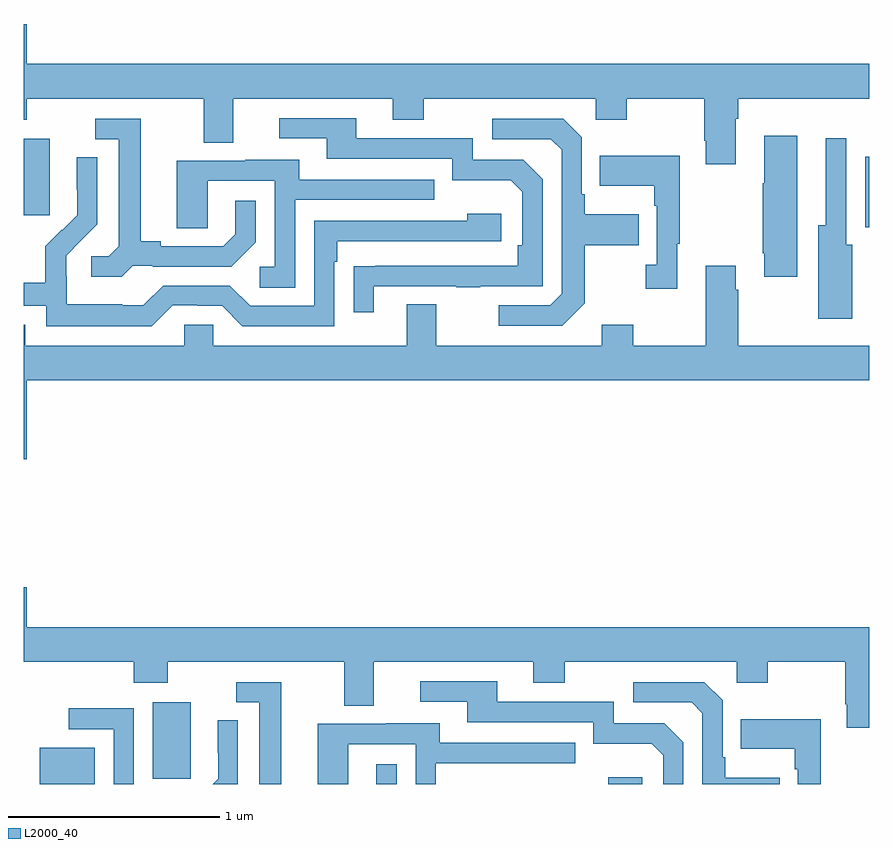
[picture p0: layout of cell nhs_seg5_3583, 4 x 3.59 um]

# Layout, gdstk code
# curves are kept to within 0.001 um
import gdstk
lib = gdstk.Library(unit=1e-6, precision=1e-09)
def R(c, l, rs):  # rectangles x0, y0, x1, y1
    for r in rs: c.add(gdstk.rectangle(r[:2], r[2:], *l))
def P(c, l, *ps):  # polygons
    for p in ps: c.add(gdstk.Polygon(p, *l))
L2000_40 = (2000, 40)

nhs_seg5_3583 = lib.new_cell('nhs_seg5_3583')
R(nhs_seg5_3583, L2000_40, [(321.077,906.799,321.337,906.97), (322.667,906.799,322.764,906.892), (323.765,906.799,323.926,906.832), (321.611,906.825,321.79,907.186), (324.981,909.432,325,909.766), (321,909.489,321.124,909.85)])
P(nhs_seg5_3583, L2000_40, [(324.367,909.944),(324.38,909.944),(324.38,910.04),(325,910.04),(325,910.204),(321.016,910.204),(321.016,910.393),(321,910.393),(321,909.941),(321.015,909.941),(321.015,910.04),(321.851,910.04),(321.851,909.832),(321.991,909.832),(321.991,910.04),(322.745,910.04),(322.745,909.941),(322.893,909.941),(322.893,910.04),(323.706,910.04),(323.706,909.941),(323.853,909.941),(323.853,910.04),(324.22,910.04),(324.22,909.841),(324.227,909.841),(324.227,909.729),(324.367,909.729)],
  [(322.657,909.153),(323.047,909.153),(323.047,909.148),(323.159,909.148),(323.159,909.153),(323.454,909.153),(323.454,909.66),(323.364,909.75),(323.124,909.75),(323.124,909.852),(322.573,909.852),(322.573,909.948),(322.209,909.948),(322.209,909.852),(322.433,909.852),(322.433,909.756),(323.028,909.756),(323.028,909.653),(323.305,909.653),(323.358,909.6),(323.358,909.346),(323.338,909.346),(323.338,909.249),(322.561,909.248),(322.561,909.03),(322.657,909.03)],
  [(321.516,909.249),(321.61,909.249),(321.61,909.246),(321.982,909.246),(322.098,909.362),(322.098,909.556),(322.001,909.556),(322.001,909.399),(321.944,909.342),(321.649,909.342),(321.649,909.365),(321.553,909.365),(321.553,909.945),(321.339,909.945),(321.339,909.849),(321.449,909.849),(321.449,909.341),(321.402,909.294),(321.321,909.294),(321.321,909.197),(321.464,909.197)],
  [(323.653,909.073),(323.653,909.346),(323.909,909.346),(323.909,909.493),(323.653,909.493),(323.653,909.589),(323.64,909.589),(323.64,909.858),(323.553,909.945),(323.217,909.945),(323.217,909.849),(323.493,909.849),(323.544,909.798),(323.544,909.117),(323.49,909.063),(323.247,909.063),(323.247,908.967),(323.547,908.967)],
  [(324.658,909.865),(324.503,909.865),(324.503,909.641),(324.496,909.641),(324.496,909.31),(324.503,909.31),(324.503,909.198),(324.658,909.198)],
  [(324.919,909.348),(324.891,909.348),(324.891,909.853),(324.794,909.853),(324.794,909.442),(324.758,909.442),(324.758,909),(324.919,909)],
  [(324.091,909.353),(324.103,909.353),(324.103,909.769),(323.725,909.769),(323.725,909.629),(323.982,909.629),(323.982,909.533),(323.994,909.533),(323.994,909.254),(323.943,909.254),(323.943,909.141),(324.091,909.141)],
  [(321.705,909.063),(321.821,909.063),(321.821,909.06),(321.939,909.06),(322.035,908.964),(322.47,908.964),(322.47,909.269),(322.483,909.269),(322.483,909.366),(323.26,909.366),(323.26,909.496),(323.099,909.496),(323.099,909.462),(322.374,909.462),(322.374,909.06),(322.071,909.06),(321.975,909.156),(321.66,909.156),(321.567,909.063),(321.467,909.063),(321.467,909.067),(321.204,909.067),(321.204,909.201),(321.202,909.201),(321.202,909.298),(321.348,909.446),(321.348,909.764),(321.252,909.764),(321.252,909.61),(321.254,909.61),(321.254,909.488),(321.183,909.417),(321.18,909.42),(321.103,909.343),(321.103,909.169),(321,909.169),(321,909.06),(321.108,909.06),(321.108,908.963),(321.605,908.963)],
  [(322.284,909.561),(322.943,909.561),(322.943,909.657),(322.303,909.657),(322.303,909.751),(322.049,909.751),(322.049,909.747),(321.725,909.747),(321.725,909.427),(321.87,909.427),(321.87,909.651),(322.188,909.651),(322.188,909.246),(322.116,909.246),(322.116,909.145),(322.284,909.145)],
  [(321.016,908.708),(325,908.708),(325,908.872),(324.38,908.872),(324.38,909.137),(324.367,909.137),(324.367,909.25),(324.227,909.25),(324.227,908.872),(323.883,908.872),(323.883,908.971),(323.735,908.971),(323.735,908.872),(322.951,908.872),(322.951,909.067),(322.811,909.067),(322.811,908.872),(321.897,908.872),(321.897,908.97),(321.759,908.97),(321.759,908.872),(321.007,908.872),(321.007,908.971),(321,908.971),(321,908.334),(321.016,908.334)],
  [(321.016,907.729),(321,907.729),(321,907.376),(321.521,907.376),(321.521,907.277),(321.681,907.277),(321.681,907.376),(322.517,907.376),(322.517,907.168),(322.657,907.168),(322.657,907.376),(323.411,907.376),(323.411,907.277),(323.559,907.277),(323.559,907.376),(324.372,907.376),(324.372,907.277),(324.519,907.277),(324.519,907.376),(324.886,907.376),(324.886,907.177),(324.893,907.177),(324.893,907.065),(325,907.065),(325,907.54),(321.016,907.54)],
  [(324.12,906.996),(324.03,907.086),(323.79,907.086),(323.79,907.188),(323.239,907.188),(323.239,907.284),(322.875,907.284),(322.875,907.188),(323.099,907.188),(323.099,907.092),(323.694,907.092),(323.694,906.989),(323.971,906.989),(324.024,906.936),(324.024,906.799),(324.12,906.799)],
  [(322.219,907.281),(322.005,907.281),(322.005,907.185),(322.115,907.185),(322.115,906.799),(322.219,906.799)],
  [(324.575,906.829),(324.319,906.829),(324.319,906.925),(324.306,906.925),(324.306,907.194),(324.219,907.281),(323.883,907.281),(323.883,907.185),(324.159,907.185),(324.21,907.134),(324.21,906.799),(324.575,906.799)],
  [(321.522,907.158),(321.213,907.158),(321.213,907.059),(321.426,907.059),(321.426,906.799),(321.522,906.799)],
  [(324.769,907.105),(324.391,907.105),(324.391,906.965),(324.648,906.965),(324.648,906.869),(324.66,906.869),(324.66,906.799),(324.769,906.799)],
  [(322.014,907.1),(321.918,907.1),(321.918,906.946),(321.92,906.946),(321.92,906.824),(321.895,906.799),(322.014,906.799)],
  [(322.536,906.987),(322.854,906.987),(322.854,906.799),(322.95,906.799),(322.95,906.897),(323.609,906.897),(323.609,906.993),(322.969,906.993),(322.969,907.087),(322.715,907.087),(322.715,907.083),(322.391,907.083),(322.391,906.799),(322.536,906.799)])

lib.write_gds('nhs_seg5_3583.gds')
